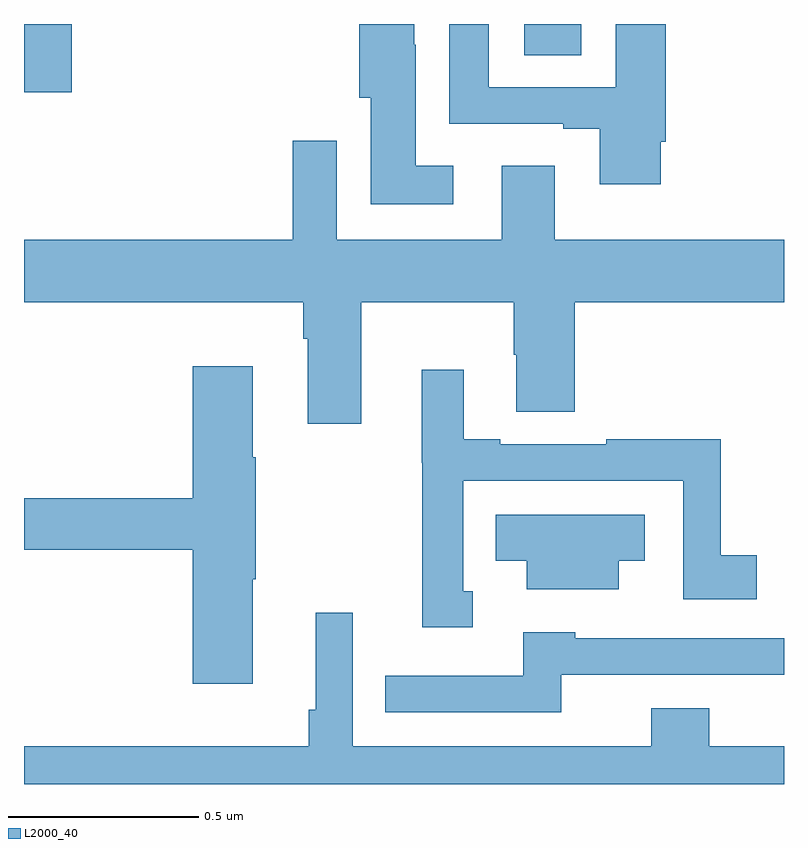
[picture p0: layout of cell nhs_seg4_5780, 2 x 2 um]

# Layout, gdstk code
import gdstk
lib = gdstk.Library(unit=1e-6, precision=1e-09)
def R(c, l, rs):  # rectangles x0, y0, x1, y1
    for r in rs: c.add(gdstk.rectangle(r[:2], r[2:], *l))
def P(c, l, *ps):  # polygons
    for p in ps: c.add(gdstk.Polygon(p, *l))
L2000_40 = (2000, 40)

nhs_seg4_5780 = lib.new_cell('nhs_seg4_5780')
R(nhs_seg4_5780, L2000_40, [(182,782.721,182.126,782.9), (183.317,782.818,183.466,782.9)])
P(nhs_seg4_5780, L2000_40, [(183.676,782.59),(183.689,782.59),(183.689,782.9),(183.557,782.9),(183.557,782.733),(183.223,782.733),(183.223,782.9),(183.119,782.9),(183.119,782.637),(183.419,782.637),(183.419,782.625),(183.515,782.625),(183.515,782.478),(183.676,782.478)],
  [(183.13,782.527),(183.031,782.527),(183.031,782.846),(183.027,782.846),(183.027,782.9),(182.882,782.9),(182.882,782.706),(182.912,782.706),(182.912,782.426),(183.13,782.426)],
  [(182.887,782.168),(183.289,782.168),(183.289,782.03),(183.296,782.03),(183.296,781.879),(183.449,781.879),(183.449,782.168),(184,782.168),(184,782.332),(183.397,782.332),(183.397,782.527),(183.257,782.527),(183.257,782.332),(182.823,782.332),(182.823,782.593),(182.707,782.593),(182.707,782.332),(182,782.332),(182,782.168),(182.735,782.168),(182.735,782.072),(182.747,782.072),(182.747,781.848),(182.887,781.848)],
  [(182.602,781.439),(182.61,781.439),(182.61,781.76),(182.602,781.76),(182.602,781.999),(182.444,781.999),(182.444,781.652),(182,781.652),(182,781.516),(182.444,781.516),(182.444,781.164),(182.602,781.164)],
  [(183.181,781.407),(183.156,781.407),(183.156,781.698),(183.735,781.698),(183.735,781.386),(183.928,781.386),(183.928,781.502),(183.834,781.502),(183.834,781.807),(183.532,781.807),(183.532,781.794),(183.253,781.794),(183.253,781.807),(183.157,781.807),(183.157,781.99),(183.047,781.99),(183.047,781.745),(183.048,781.745),(183.048,781.313),(183.181,781.313)],
  [(183.565,781.487),(183.634,781.487),(183.634,781.609),(183.241,781.609),(183.241,781.487),(183.323,781.487),(183.323,781.412),(183.565,781.412)],
  [(184,781),(183.803,781),(183.803,781.099),(183.65,781.099),(183.65,781),(182.865,781),(182.865,781.351),(182.768,781.351),(182.768,781.096),(182.749,781.096),(182.749,781),(182,781),(182,780.9),(184,780.9)],
  [(183.414,781.188),(183.886,781.188),(183.886,781.187),(184,781.187),(184,781.284),(183.45,781.284),(183.45,781.3),(183.314,781.3),(183.314,781.185),(182.95,781.185),(182.95,781.089),(183.414,781.089)])

lib.write_gds('nhs_seg4_5780.gds')
